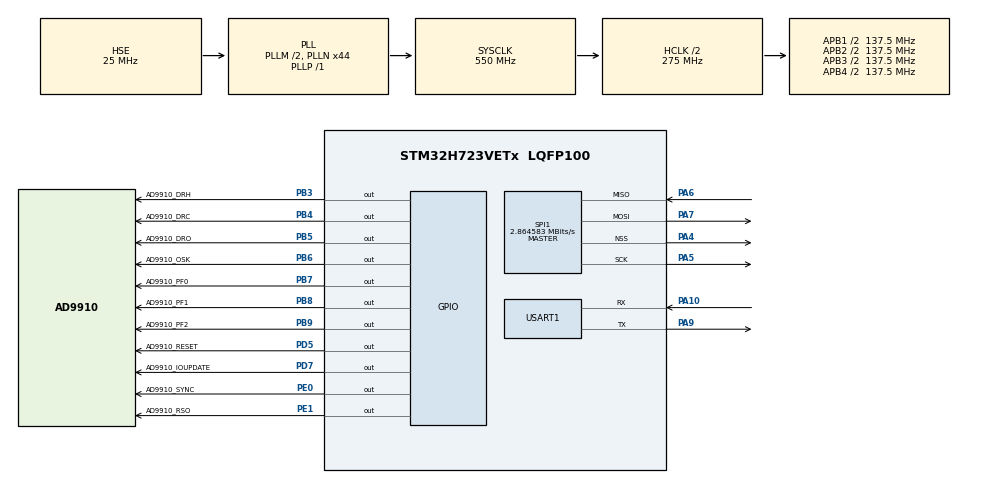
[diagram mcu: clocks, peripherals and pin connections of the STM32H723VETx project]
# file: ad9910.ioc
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Mcu.Family=STM32H7
Mcu.Name=STM32H723VETx
Mcu.Package=LQFP100
NVIC.PriorityGroup=NVIC_PRIORITYGROUP_4
PA10.Mode=Asynchronous
PA10.Signal=USART1_RX
PA4.Mode=NSS_Signal_Hard_Output
PA4.Signal=SPI1_NSS
PA5.Mode=Full_Duplex_Master
PA5.Signal=SPI1_SCK
PA6.Mode=Full_Duplex_Master
PA6.Signal=SPI1_MISO
PA7.Mode=Full_Duplex_Master
PA7.Signal=SPI1_MOSI
PA9.Mode=Asynchronous
PA9.Signal=USART1_TX
PB3(JTDO/TRACESWO).GPIO_Label=AD9910_DRH
PB3(JTDO/TRACESWO).Signal=GPIO_Output
PB4(NJTRST).GPIO_Label=AD9910_DRC
PB4(NJTRST).Signal=GPIO_Output
PB5.GPIO_Label=AD9910_DRO
PB5.Signal=GPIO_Output
PB6.GPIO_Label=AD9910_OSK
PB6.Signal=GPIO_Output
PB7.GPIO_Label=AD9910_PF0
PB7.Signal=GPIO_Output
PB8.GPIO_Label=AD9910_PF1
PB8.Signal=GPIO_Output
PB9.GPIO_Label=AD9910_PF2
PB9.Signal=GPIO_Output
PC14-OSC32_IN.Mode=LSE-External-Oscillator
PC14-OSC32_IN.Signal=RCC_OSC32_IN
PC15-OSC32_OUT.Mode=LSE-External-Oscillator
PC15-OSC32_OUT.Signal=RCC_OSC32_OUT
PD5.GPIO_Label=AD9910_RESET
PD5.Signal=GPIO_Output
PD7.GPIO_Label=AD9910_IOUPDATE
PD7.Signal=GPIO_Output
PE0.GPIO_Label=AD9910_SYNC
PE0.Signal=GPIO_Output
PE1.GPIO_Label=AD9910_RSO
PE1.Signal=GPIO_Output
PH0-OSC_IN.Mode=HSE-External-Oscillator
PH0-OSC_IN.Signal=RCC_OSC_IN
PH1-OSC_OUT.Mode=HSE-External-Oscillator
PH1-OSC_OUT.Signal=RCC_OSC_OUT
ProjectManager.HeapSize=0x2000
ProjectManager.StackSize=0x4000
ProjectManager.TargetToolchain=Makefile
RCC.ADCFreq_Value=50390625
RCC.APB1Freq_Value=137500000
RCC.APB2Freq_Value=137500000
RCC.APB3Freq_Value=137500000
RCC.APB4Freq_Value=137500000
RCC.CortexFreq_Value=550000000
RCC.D1PPRE=RCC_APB3_DIV2
RCC.D2PPRE1=RCC_APB1_DIV2
RCC.D2PPRE2=RCC_APB2_DIV2
RCC.D3PPRE=RCC_APB4_DIV2
RCC.DIVM1=2
RCC.DIVN1=44
RCC.DIVP1=1
RCC.DIVQ1=3
RCC.EnbaleCSS=true
RCC.HCLKFreq_Value=275000000
RCC.HPRE=RCC_HCLK_DIV2
RCC.HSE_VALUE=25000000
RCC.PLLFRACN=0
RCC.PLLSourceVirtual=RCC_PLLSOURCE_HSE
RCC.SYSCLKFreq_VALUE=550000000
RCC.SYSCLKSource=RCC_SYSCLKSOURCE_PLLCLK
RCC.USBFreq_Value=183333333.33333334
SPI1.BaudRatePrescaler=SPI_BAUDRATEPRESCALER_64
SPI1.CalculateBaudRate=2.864583 MBits/s
SPI1.DataSize=SPI_DATASIZE_8BIT
SPI1.Direction=SPI_DIRECTION_2LINES
SPI1.Mode=SPI_MODE_MASTER
SPI1.VirtualNSS=VM_NSSHARD
SPI1.VirtualType=VM_MASTER
USART1.VirtualMode-Asynchronous=VM_ASYNC
board=custom

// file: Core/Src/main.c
/* USER CODE BEGIN Header */
/**
 ******************************************************************************
 * @file           : main.c
 * @brief          : Main program body
 ******************************************************************************
 * @attention
 *
 * Copyright (c) 2023 STMicroelectronics.
 * All rights reserved.
 *
 * This software is licensed under terms that can be found in the LICENSE file
 * in the root directory of this software component.
 * If no LICENSE file comes with this software, it is provided AS-IS.
 *
 ******************************************************************************
 */
/* USER CODE END Header */
#include "main.h"

SPI_HandleTypeDef hspi1;

UART_HandleTypeDef huart1;

void SystemClock_Config(void);
static void MX_GPIO_Init(void);
static void MX_SPI1_Init(void);
static void MX_USART1_UART_Init(void);

/* USER CODE BEGIN 0 */
int _write(int file, char *ptr, int len)
{
  HAL_UART_Transmit(&huart1, (const uint8_t *)ptr, len, HAL_MAX_DELAY);
  return len;
}

__STATIC_INLINE uint32_t GXT_SYSTICK_IsActiveCounterFlag(void)
{
  return ((SysTick->CTRL & SysTick_CTRL_COUNTFLAG_Msk) == (SysTick_CTRL_COUNTFLAG_Msk));
}
static uint32_t getCurrentMicros(void)
{
  /* Ensure COUNTFLAG is reset by reading SysTick control and status register */
  GXT_SYSTICK_IsActiveCounterFlag();
  uint32_t m = HAL_GetTick();
  const uint32_t tms = SysTick->LOAD + 1;
  __IO uint32_t u = tms - SysTick->VAL;
  if (GXT_SYSTICK_IsActiveCounterFlag())
  {
    m = HAL_GetTick();
    u = tms - SysTick->VAL;
  }
  return (m * 1000 + (u * 1000) / tms);
}
/* USER CODE END 0 */

int main(void)
{

  /* MCU Configuration--------------------------------------------------------*/

  /* Reset of all peripherals, Initializes the Flash interface and the Systick. */
  HAL_Init();

  /* Configure the system clock */
  SystemClock_Config();

  /* Initialize all configured peripherals */
  MX_GPIO_Init();
  MX_SPI1_Init();
  MX_USART1_UART_Init();
  /* USER CODE BEGIN 2 */

  printf("\r\n###################\r\n### Hello World.\r\n");

#ifdef DEBUG
  printf("[%.3f] main: Set AD9910 ports.\r\n", 1.0 * getCurrentMicros() / 1000.0);
#endif

  ad9910_PortSettingsTypeDef ad9910_settings;
  ad9910_settings.hspi = &hspi1;

  ad9910_settings.ioupdate_gpio_group = AD9910_IOUPDATE_GPIO_Port;
  ad9910_settings.ioupdate_gpio_pin = AD9910_IOUPDATE_Pin;

  ad9910_settings.reset_gpio_group = AD9910_RESET_GPIO_Port;
  ad9910_settings.reset_gpio_pin = AD9910_RESET_Pin;

  ad9910_settings.drctl_gpio_group = AD9910_DRC_GPIO_Port;
  ad9910_settings.drctl_gpio_pin = AD9910_DRC_Pin;

  ad9910_settings.drhold_gpio_group = AD9910_DRH_GPIO_Port;
  ad9910_settings.drhold_gpio_pin = AD9910_DRH_Pin;

  ad9910_settings.drover_gpio_group = AD9910_DRO_GPIO_Port;
  ad9910_settings.drover_gpio_pin = AD9910_DRO_Pin;

  ad9910_settings.osk_gpio_group = AD9910_OSK_GPIO_Port;
  ad9910_settings.osk_gpio_pin = AD9910_OSK_Pin;

  ad9910_settings.pf0_gpio_group = AD9910_PF0_GPIO_Port;
  ad9910_settings.pf0_gpio_pin = AD9910_PF0_Pin;

  ad9910_settings.pf1_gpio_group = AD9910_PF1_GPIO_Port;
  ad9910_settings.pf1_gpio_pin = AD9910_PF1_Pin;

  ad9910_settings.pf2_gpio_group = AD9910_PF2_GPIO_Port;
  ad9910_settings.pf2_gpio_pin = AD9910_PF2_Pin;

  ad9910_settings.rso_gpio_group = AD9910_RSO_GPIO_Port;
  ad9910_settings.rso_gpio_pin = AD9910_RSO_Pin;

  ad9910_settings.sync_gpio_group = AD9910_SYNC_GPIO_Port;
  ad9910_settings.sync_gpio_pin = AD9910_SYNC_Pin;

#ifdef DEBUG
  printf("[%.3f] main: Initialize AD9910.\r\n", 1.0 * getCurrentMicros() / 1000.0);
#endif

  ad9910_init(&ad9910_settings);

#ifdef DEBUG
  printf("[%.3f] main: Set AD9910 PLL.\r\n", 1.0 * getCurrentMicros() / 1000.0);
#endif

  ad9910_set_pll(1, 1, AD9910_REFCLK_OUTCURRENT_HIGH, AD9910_PLL_CHARGE_PUMP_CUR_237, 0, AD9910_VCO_SEL_5);

  /* USER CODE END 2 */

  /* Infinite loop */
  while (1)
  {

  }
}

void SystemClock_Config(void)
{
  RCC_OscInitTypeDef RCC_OscInitStruct = {0};
  RCC_ClkInitTypeDef RCC_ClkInitStruct = {0};

  /** Supply configuration update enable
   */
  HAL_PWREx_ConfigSupply(PWR_LDO_SUPPLY);

  /** Configure the main internal regulator output voltage
   */
  __HAL_PWR_VOLTAGESCALING_CONFIG(PWR_REGULATOR_VOLTAGE_SCALE0);

  while (!__HAL_PWR_GET_FLAG(PWR_FLAG_VOSRDY))
  {
  }

  /** Initializes the RCC Oscillators according to the specified parameters
   * in the RCC_OscInitTypeDef structure.
   */
  RCC_OscInitStruct.OscillatorType = RCC_OSCILLATORTYPE_HSE;
  RCC_OscInitStruct.HSEState = RCC_HSE_ON;
  RCC_OscInitStruct.PLL.PLLState = RCC_PLL_ON;
  RCC_OscInitStruct.PLL.PLLSource = RCC_PLLSOURCE_HSE;
  RCC_OscInitStruct.PLL.PLLM = 2;
  RCC_OscInitStruct.PLL.PLLN = 44;
  RCC_OscInitStruct.PLL.PLLP = 1;
  RCC_OscInitStruct.PLL.PLLQ = 3;
  RCC_OscInitStruct.PLL.PLLR = 2;
  RCC_OscInitStruct.PLL.PLLRGE = RCC_PLL1VCIRANGE_3;
  RCC_OscInitStruct.PLL.PLLVCOSEL = RCC_PLL1VCOWIDE;
  RCC_OscInitStruct.PLL.PLLFRACN = 0;
  if (HAL_RCC_OscConfig(&RCC_OscInitStruct) != HAL_OK)
  {
    Error_Handler();
  }

  /** Initializes the CPU, AHB and APB buses clocks
   */
  RCC_ClkInitStruct.ClockType = RCC_CLOCKTYPE_HCLK | RCC_CLOCKTYPE_SYSCLK | RCC_CLOCKTYPE_PCLK1 | RCC_CLOCKTYPE_PCLK2 | RCC_CLOCKTYPE_D3PCLK1 | RCC_CLOCKTYPE_D1PCLK1;
  RCC_ClkInitStruct.SYSCLKSource = RCC_SYSCLKSOURCE_PLLCLK;
  RCC_ClkInitStruct.SYSCLKDivider = RCC_SYSCLK_DIV1;
  RCC_ClkInitStruct.AHBCLKDivider = RCC_HCLK_DIV2;
  RCC_ClkInitStruct.APB3CLKDivider = RCC_APB3_DIV2;
  RCC_ClkInitStruct.APB1CLKDivider = RCC_APB1_DIV2;
  RCC_ClkInitStruct.APB2CLKDivider = RCC_APB2_DIV2;
  RCC_ClkInitStruct.APB4CLKDivider = RCC_APB4_DIV2;

  if (HAL_RCC_ClockConfig(&RCC_ClkInitStruct, FLASH_LATENCY_3) != HAL_OK)
  {
    Error_Handler();
  }

  /** Enables the Clock Security System
   */
  HAL_RCC_EnableCSS();
}

static void MX_SPI1_Init(void)
{

  /* SPI1 parameter configuration*/
  hspi1.Instance = SPI1;
  hspi1.Init.Mode = SPI_MODE_MASTER;
  hspi1.Init.Direction = SPI_DIRECTION_2LINES;
  hspi1.Init.DataSize = SPI_DATASIZE_8BIT;
  hspi1.Init.CLKPolarity = SPI_POLARITY_LOW;
  hspi1.Init.CLKPhase = SPI_PHASE_1EDGE;
  hspi1.Init.NSS = SPI_NSS_HARD_OUTPUT;
  hspi1.Init.BaudRatePrescaler = SPI_BAUDRATEPRESCALER_64;
  hspi1.Init.FirstBit = SPI_FIRSTBIT_MSB;
  hspi1.Init.TIMode = SPI_TIMODE_DISABLE;
  hspi1.Init.CRCCalculation = SPI_CRCCALCULATION_DISABLE;
  hspi1.Init.CRCPolynomial = 0x0;
  hspi1.Init.NSSPMode = SPI_NSS_PULSE_ENABLE;
  hspi1.Init.NSSPolarity = SPI_NSS_POLARITY_LOW;
  hspi1.Init.FifoThreshold = SPI_FIFO_THRESHOLD_01DATA;
  hspi1.Init.TxCRCInitializationPattern = SPI_CRC_INITIALIZATION_ALL_ZERO_PATTERN;
  hspi1.Init.RxCRCInitializationPattern = SPI_CRC_INITIALIZATION_ALL_ZERO_PATTERN;
  hspi1.Init.MasterSSIdleness = SPI_MASTER_SS_IDLENESS_00CYCLE;
  hspi1.Init.MasterInterDataIdleness = SPI_MASTER_INTERDATA_IDLENESS_00CYCLE;
  hspi1.Init.MasterReceiverAutoSusp = SPI_MASTER_RX_AUTOSUSP_DISABLE;
  hspi1.Init.MasterKeepIOState = SPI_MASTER_KEEP_IO_STATE_DISABLE;
  hspi1.Init.IOSwap = SPI_IO_SWAP_DISABLE;
  if (HAL_SPI_Init(&hspi1) != HAL_OK)
  {
    Error_Handler();
  }
}

static void MX_USART1_UART_Init(void)
{

  huart1.Instance = USART1;
  huart1.Init.BaudRate = 115200;
  huart1.Init.WordLength = UART_WORDLENGTH_8B;
  huart1.Init.StopBits = UART_STOPBITS_1;
  huart1.Init.Parity = UART_PARITY_NONE;
  huart1.Init.Mode = UART_MODE_TX_RX;
  huart1.Init.HwFlowCtl = UART_HWCONTROL_NONE;
  huart1.Init.OverSampling = UART_OVERSAMPLING_16;
  huart1.Init.OneBitSampling = UART_ONE_BIT_SAMPLE_DISABLE;
  huart1.Init.ClockPrescaler = UART_PRESCALER_DIV1;
  huart1.AdvancedInit.AdvFeatureInit = UART_ADVFEATURE_NO_INIT;
  if (HAL_UART_Init(&huart1) != HAL_OK)
  {
    Error_Handler();
  }
  if (HAL_UARTEx_SetTxFifoThreshold(&huart1, UART_TXFIFO_THRESHOLD_1_8) != HAL_OK)
  {
    Error_Handler();
  }
  if (HAL_UARTEx_SetRxFifoThreshold(&huart1, UART_RXFIFO_THRESHOLD_1_8) != HAL_OK)
  {
    Error_Handler();
  }
  if (HAL_UARTEx_DisableFifoMode(&huart1) != HAL_OK)
  {
    Error_Handler();
  }
}

static void MX_GPIO_Init(void)
{
  GPIO_InitTypeDef GPIO_InitStruct = {0};

  /* GPIO Ports Clock Enable */
  __HAL_RCC_GPIOC_CLK_ENABLE();
  __HAL_RCC_GPIOH_CLK_ENABLE();
  __HAL_RCC_GPIOA_CLK_ENABLE();
  __HAL_RCC_GPIOD_CLK_ENABLE();
  __HAL_RCC_GPIOB_CLK_ENABLE();
  __HAL_RCC_GPIOE_CLK_ENABLE();

  /*Configure GPIO pin Output Level */
  HAL_GPIO_WritePin(GPIOD, AD9910_RESET_Pin | AD9910_IOUPDATE_Pin, GPIO_PIN_RESET);

  /*Configure GPIO pin Output Level */
  HAL_GPIO_WritePin(GPIOB, AD9910_DRH_Pin | AD9910_DRC_Pin | AD9910_DRO_Pin | AD9910_OSK_Pin | AD9910_PF0_Pin | AD9910_PF1_Pin | AD9910_PF2_Pin, GPIO_PIN_RESET);

  /*Configure GPIO pin Output Level */
  HAL_GPIO_WritePin(GPIOE, AD9910_SYNC_Pin | AD9910_RSO_Pin, GPIO_PIN_RESET);

  /*Configure GPIO pins : AD9910_RESET_Pin AD9910_IOUPDATE_Pin */
  GPIO_InitStruct.Pin = AD9910_RESET_Pin | AD9910_IOUPDATE_Pin;
  GPIO_InitStruct.Mode = GPIO_MODE_OUTPUT_PP;
  GPIO_InitStruct.Pull = GPIO_NOPULL;
  GPIO_InitStruct.Speed = GPIO_SPEED_FREQ_LOW;
  HAL_GPIO_Init(GPIOD, &GPIO_InitStruct);

  /*Configure GPIO pins : AD9910_DRH_Pin AD9910_DRC_Pin AD9910_DRO_Pin AD9910_OSK_Pin
                           AD9910_PF0_Pin AD9910_PF1_Pin AD9910_PF2_Pin */
  GPIO_InitStruct.Pin = AD9910_DRH_Pin | AD9910_DRC_Pin | AD9910_DRO_Pin | AD9910_OSK_Pin | AD9910_PF0_Pin | AD9910_PF1_Pin | AD9910_PF2_Pin;
  GPIO_InitStruct.Mode = GPIO_MODE_OUTPUT_PP;
  GPIO_InitStruct.Pull = GPIO_NOPULL;
  GPIO_InitStruct.Speed = GPIO_SPEED_FREQ_LOW;
  HAL_GPIO_Init(GPIOB, &GPIO_InitStruct);

  /*Configure GPIO pins : AD9910_SYNC_Pin AD9910_RSO_Pin */
  GPIO_InitStruct.Pin = AD9910_SYNC_Pin | AD9910_RSO_Pin;
  GPIO_InitStruct.Mode = GPIO_MODE_OUTPUT_PP;
  GPIO_InitStruct.Pull = GPIO_NOPULL;
  GPIO_InitStruct.Speed = GPIO_SPEED_FREQ_LOW;
  HAL_GPIO_Init(GPIOE, &GPIO_InitStruct);

}

void Error_Handler(void)
{
  __disable_irq();
  while (1)
  {
  }
}
